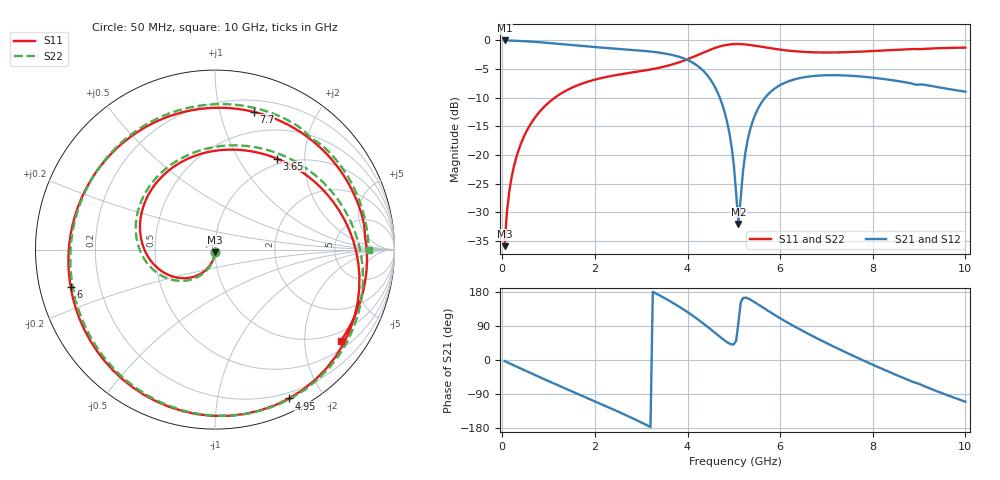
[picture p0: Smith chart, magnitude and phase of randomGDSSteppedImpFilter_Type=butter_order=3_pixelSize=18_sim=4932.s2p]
! freq	dB(S11)	phase(S11)	dB(S12)	phase(S12)
!  dB(S21)	phase(S21)	dB(S22)	phase(S22)
!S-par simulation data
#  GHz  S  DB  R 50
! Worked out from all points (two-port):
!   200 points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, 50 MHz to 10 GHz, reference 50 ohm
!   highest |S21| = 0.00 dB at 50 MHz (marker M1); lowest = -32.0 dB at 5.1 GHz (marker M2)
!   |S21| within 3 dB of the highest: start of sweep to 3.872 GHz
!   lowest |S11| = -35.9 dB at 50 MHz (marker M3), VSWR 1.03, Z = 49.9 - j1.59 ohm
!   |S11| at or under -10 dB: start of sweep to 1.133 GHz
!   |S22| runs from -35.8 to -0.6 dB; largest |S21 - S12| = 0
!   S11 on the Smith chart (normalised r, x): 50 MHz: 1.00, -0.03; 3.65 GHz: 0.91, +1.48; 4.95 GHz: 0.14, -1.61; 6 GHz: 0.09, -0.13; 7.7 GHz: 0.30, +1.28; 10 GHz: 0.72, -2.92
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0.05  -35.92 -93.1  -0.00 -2.9  -0.00 -2.9  -35.85 -92.9
0.2  -23.94 -102.3  -0.03 -11.4  -0.03 -11.4  -23.92 -101.2
0.5  -16.23 -120.1  -0.14 -28.2  -0.14 -28.2  -16.24 -117.3
1.15  -9.90 -157.8  -0.55 -63.9  -0.55 -63.9  -9.90 -151.2
1.75  -7.45 168.6  -0.99 -95.8  -0.99 -95.8  -7.45 178.5
2.7  -5.72 115.0  -1.58 -147.3  -1.58 -147.3  -5.73 129.2
3.4  -4.75 72.4  -2.14 170.3  -2.14 170.3  -4.76 86.7
3.65  -4.24 55.6  -2.50 153.1  -2.50 153.1  -4.26 69.0
4.1  -2.95 21.5  -3.82 118.0  -3.82 118.0  -2.98 32.0
4.45  -1.75 -10.3  -6.32 85.8  -6.32 85.8  -1.77 -2.3
4.95  -0.66 -63.5  -18.46 41.2  -18.46 41.2  -0.65 -57.1
5.05  -0.62 -74.5  -26.71 50.8  -26.71 50.8  -0.60 -67.8
5.1  -0.63 -79.9  -32.03 99.8  -32.03 99.8  -0.60 -73.1
5.2  -0.66 -90.6  -22.68 163.6  -22.68 163.6  -0.63 -83.3
5.35  -0.79 -106.1  -15.62 159.8  -15.62 159.8  -0.74 -97.8
6  -1.61 -165.4  -7.80 110.1  -7.80 110.1  -1.50 -149.0
6.7  -2.07 140.6  -6.23 63.2  -6.23 63.2  -1.97 168.8
7.2  -2.09 105.9  -6.07 32.8  -6.07 32.8  -2.04 141.8
7.7  -1.97 74.3  -6.26 4.1  -6.26 4.1  -1.97 115.8
8.35  -1.71 37.4  -6.86 -31.2  -6.86 -31.2  -1.78 82.1
9.15  -1.45 -1.2  -7.79 -71.0  -7.79 -71.0  -1.56 41.6
10  -1.25 -35.9  -8.94 -110.1  -8.94 -110.1  -1.35 0.0
